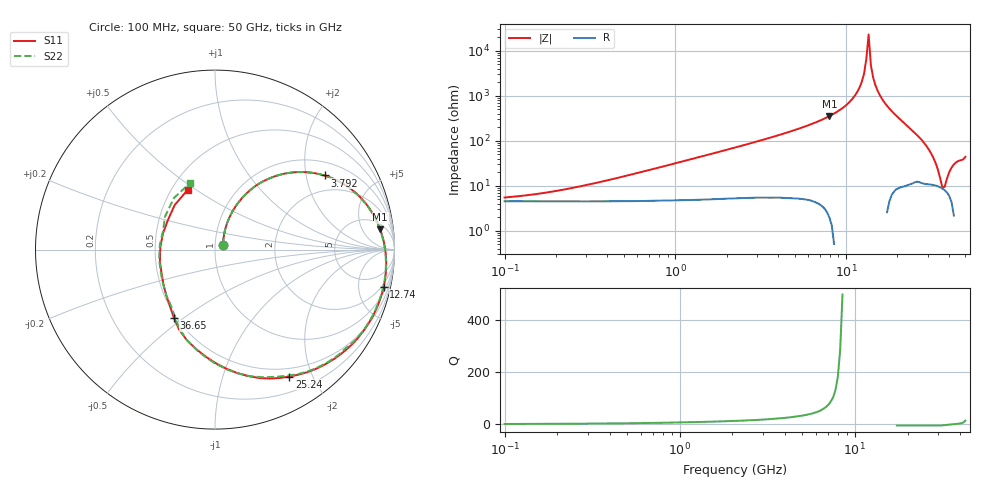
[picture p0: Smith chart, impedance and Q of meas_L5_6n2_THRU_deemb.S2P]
!  2-Port S-parameters saved by WinCal
! VAR NAME=L5_THRU_deemb
! VAR ObjTypeName=DATASET
! VAR IndexType=Frequency
! VAR FILENAME=meas_L5_6n2_THRU_deemb_GSG_PQD701W03Cx2y7.S2P
# Hz S RI R 50
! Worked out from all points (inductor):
!   201 points, 100 MHz to 50 GHz, reference 50 ohm
!   read as one part in series: L = 4.97 nH near 444.4 MHz
!   highest Q = 181 at 7.994 GHz (marker M1), where L = 7.07 nH
!   self-resonance near 13.14 GHz
!   S11 on the Smith chart (normalised r, x): 100 MHz: 1.09, +0.06; 3.792 GHz: 1.42, +2.56; 12.74 GHz: 1.58, -8.88; 25.24 GHz: 0.39, -1.68; 36.65 GHz: 0.49, -0.46; 50 GHz: 0.60, +0.46
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1e8  0.0441 0.0259  0.9554 -0.0308  0.9556 -0.0308  0.0442 0.0259
2.876239e8  0.0491 0.0752  0.9483 -0.0878  0.9481 -0.0877  0.0491 0.0753
8.019641e8  0.0922 0.2034  0.8976 -0.2308  0.8975 -0.2308  0.0922 0.2032
2.236068e9  0.3439 0.4119  0.6334 -0.4653  0.6333 -0.4651  0.3439 0.4115
3.792254e9  0.6106 0.413  0.358 -0.4921  0.3579 -0.4919  0.6105 0.4124
6.431465e9  0.8582 0.2326  0.1018 -0.3562  0.1019 -0.3562  0.8575 0.2315
7.994179e9  0.9204 0.1124  0.0329 -0.2631  0.0329 -0.263  0.9195 0.1112
1.090743e10  0.9537 -0.0924  -0.013 -0.1101  -0.013 -0.1101  0.9521 -0.0938
1.197311e10  0.9482 -0.1608  -0.0132 -0.0618  -0.0133 -0.0618  0.9463 -0.1623
1.27408e10  0.9396 -0.2077  -0.00947 -0.0293  -0.00947 -0.0293  0.9373 -0.2094
1.314291e10  0.9339 -0.2316  -0.00631 -0.0129  -0.0063 -0.0129  0.9312 -0.2333
1.355771e10  0.9269 -0.2559  -0.00217 0.00345  -0.00218 0.00347  0.9244 -0.2575
1.39856e10  0.9187 -0.2804  0.00285 0.0198  0.00286 0.0198  0.9161 -0.2818
1.4427e10  0.9095 -0.3049  0.00896 0.0361  0.00894 0.0361  0.9065 -0.3065
1.583655e10  0.8737 -0.3803  0.0343 0.0842  0.0343 0.0842  0.8705 -0.3819
1.793246e10  0.8044 -0.4826  0.0857 0.1439  0.0857 0.1439  0.799 -0.4846
2.523965e10  0.4135 -0.7076  0.3721 0.2029  0.3719 0.2029  0.4097 -0.7019
3.041252e10  0.0655 -0.6646  0.5758 0.0437  0.5756 0.0441  0.0661 -0.6678
3.664557e10  -0.2292 -0.3796  0.6177 -0.3181  0.6176 -0.3175  -0.2247 -0.3711
4.280512e10  -0.307 -0.0646  0.3053 -0.6395  0.3056 -0.639  -0.3113 -0.0546
4.554969e10  -0.2897 0.091  0.1029 -0.6583  0.1035 -0.6579  -0.2903 0.1007
5e10  -0.1523 0.3334  -0.1609 -0.5116  -0.1605 -0.5112  -0.1409 0.3694
